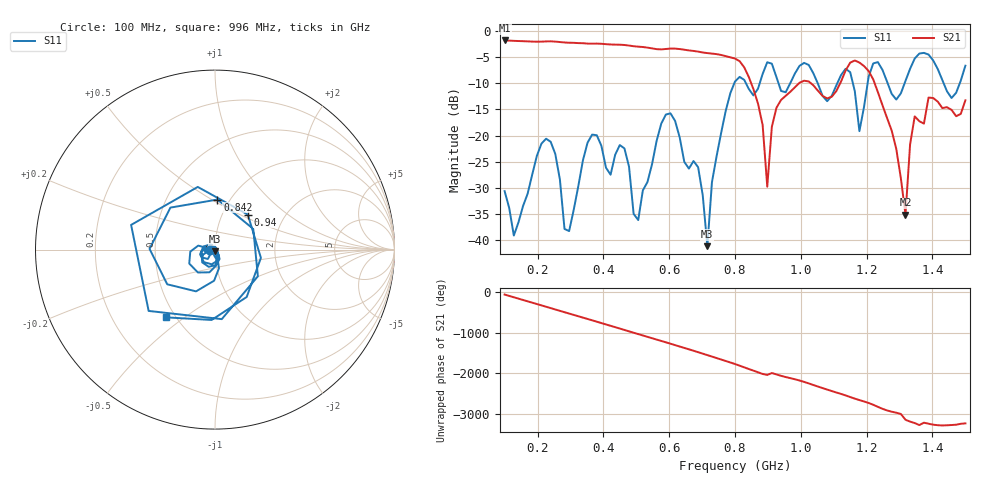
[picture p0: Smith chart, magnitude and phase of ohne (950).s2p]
! NanoVNA-App
! Date: 2025-09-25 14:28:11
! Start: 100MHz Stop: 1,5GHz Points: 101
! S-Parameter data: F S11 S21 S12 S22
# Hz S RI R 50
!  Frequency  S11_Real  S11_Imag  S21_Real  S21_Imag  S12_Real  S12_Imag  S22_Real  S22_Imag
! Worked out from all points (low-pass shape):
!   101 points, 100 MHz to 1.5 GHz, reference 50 ohm
!   highest |S21| = -1.79 dB at 100 MHz (marker M1); lowest = -35.1 dB at 1.318 GHz (marker M2)
!   |S21| within 3 dB of the highest: start of sweep to 771.9 MHz
!   lowest |S11| = -41.2 dB at 716 MHz (marker M3), VSWR 1.02, Z = 49.8 - j0.838 ohm
!   |S11| at or under -10 dB: start of sweep to 797.8 MHz; 833.3 MHz to 875 MHz (41.72 MHz wide, 4.88 % of centre); 1.051 GHz to 1.111 GHz (59.29 MHz wide, 5.48 % of centre) (the widest 3 of 7)
!   S12 and S22 are empty: the file has one direction only
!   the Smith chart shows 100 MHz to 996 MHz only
!   S11 on the Smith chart (normalised r, x): 100 MHz: 0.94, -0.01; 842 MHz: 0.88, +0.53; 940 MHz: 1.31, +0.55; 996 MHz: 0.45, -0.43
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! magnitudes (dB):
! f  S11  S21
! 100 MHz  -30.6  -1.8
! 128 MHz  -39.1  -1.9
! 226 MHz  -20.6  -2.0
! 296 MHz  -38.3  -2.2
! 338 MHz  -24.7  -2.3
! 464 MHz  -22.4  -2.7
! 506 MHz  -36.2  -3.0
! 576 MHz  -17.7  -3.5
! 688 MHz  -26.1  -3.9
! 716 MHz  -41.2  -4.2
! 800 MHz  -9.7  -5.3
! 842 MHz  -11.1  -8.8
! 898 MHz  -6.0  -29.8
! 940 MHz  -11.5  -13.2
! 996 MHz  -6.7  -9.9
! 1.038 GHz  -8.1  -10.4
! 1.178 GHz  -19.2  -6.0
! 1.22 GHz  -6.2  -9.3
! 1.276 GHz  -12.0  -19.0
! 1.318 GHz  -9.5  -35.1
! 1.346 GHz  -5.3  -16.3
! 1.5 GHz  -6.6  -13.2
